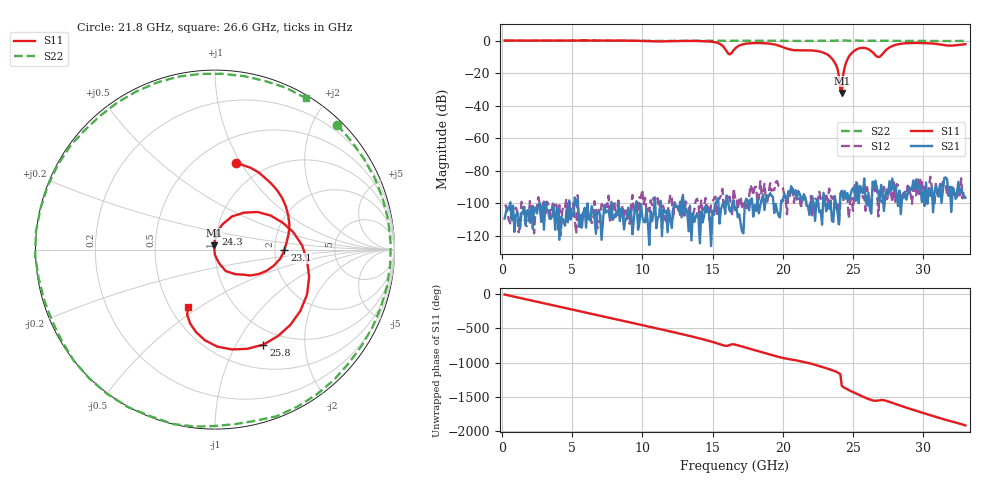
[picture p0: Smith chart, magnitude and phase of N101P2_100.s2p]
# GHZ S RI R 50
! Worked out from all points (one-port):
!   329 points, 200 MHz to 33 GHz, reference 50 ohm
!   lowest |S11| = -32.3 dB at 24.2 GHz (marker M1), VSWR 1.05, Z = 49.4 + j2.34 ohm
!   |S11| at or under -10 dB: 23.38 GHz to 24.7 GHz (1.323 GHz wide, 5.51 % of centre); 26.7562 GHz to 26.87738 GHz (121.2 MHz wide, 0.452 % of centre)
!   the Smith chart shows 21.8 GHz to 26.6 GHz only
!   S11 on the Smith chart (normalised r, x): 21.8 GHz: 0.74, +0.96; 23.1 GHz: 2.26, -0.01; 24.3 GHz: 0.99, +0.17; 25.8 GHz: 0.80, -1.30; 26.6 GHz: 0.62, -0.45
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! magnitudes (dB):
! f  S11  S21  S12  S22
! 200 MHz  0.0  -109.3  -101.8  0.0
! 5.7 GHz  0.0  -114.9  -104.7  0.0
! 11.2 GHz  -0.5  -107.9  -103.6  -0.2
! 15.2 GHz  -1.1  -100.0  -95.8  -0.1
! 16.2 GHz  -8.5  -104.1  -95.8  -0.1
! 16.6 GHz  -5.0  -104.2  -96.4  -0.1
! 18.4 GHz  -1.6  -101.2  -86.4  -0.2
! 21.8 GHz  -6.0  -101.6  -99.1  -0.2
! 22.1 GHz  -6.1  -95.6  -107.4  -0.2
! 23.1 GHz  -8.2  -104.9  -95.2  -0.1
! 23.8 GHz  -15.1  -100.7  -102.0  -0.1
! 24 GHz  -22.1  -113.0  -113.5  0.0
! 24.1 GHz  -30.2  -93.9  -98.8  0.0
! 24.2 GHz  -32.3  -92.2  -97.9  0.0
! 24.3 GHz  -21.3  -97.4  -98.7  0.0
! 24.5 GHz  -13.7  -97.1  -94.9  -0.1
! 24.8 GHz  -8.8  -95.8  -98.8  0.0
! 25.8 GHz  -4.5  -84.7  -96.0  -0.1
! 26.6 GHz  -9.1  -86.0  -93.1  -0.1
! 26.9 GHz  -10.0  -98.8  -91.8  -0.1
! 27.6 GHz  -4.3  -86.3  -93.8  -0.2
! 33 GHz  -2.2  -96.6  -91.5  -0.3
